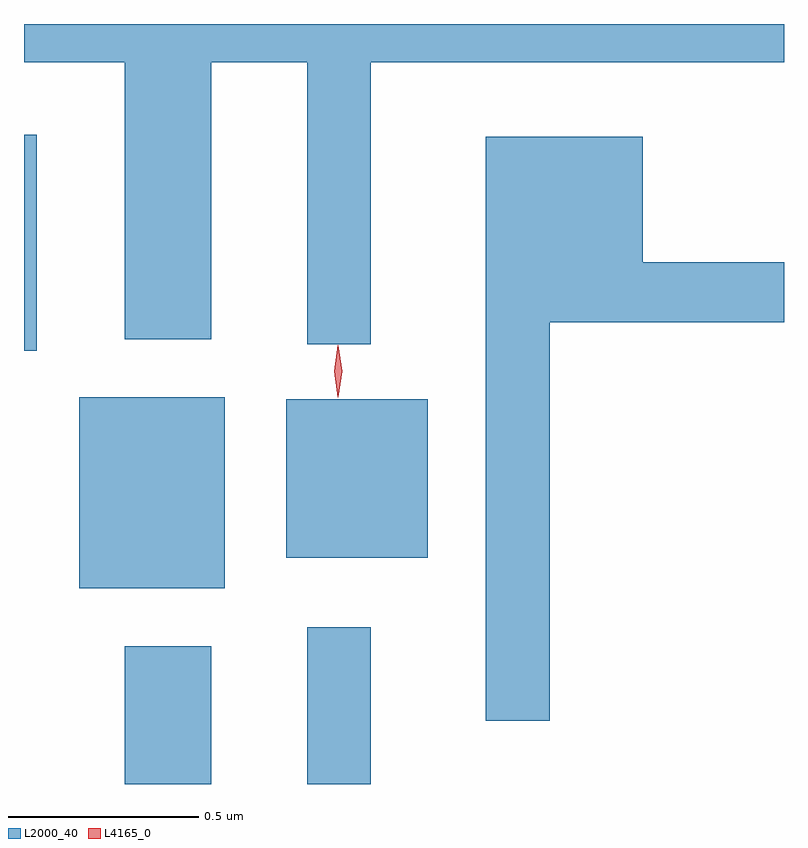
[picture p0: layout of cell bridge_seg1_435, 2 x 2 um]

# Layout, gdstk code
import gdstk
lib = gdstk.Library(unit=1e-6, precision=1e-09)
def R(c, l, rs):  # rectangles x0, y0, x1, y1
    for r in rs: c.add(gdstk.rectangle(r[:2], r[2:], *l))
def P(c, l, *ps):  # polygons
    for p in ps: c.add(gdstk.Polygon(p, *l))
L2000_40 = (2000, 40)
L4165_0 = (4165, 0)

bridge_seg1_435 = lib.new_cell('bridge_seg1_435')
R(bridge_seg1_435, L2000_40, [(332.531,939.856,332.759,940.219), (333.011,939.856,333.179,940.268), (332.411,940.371,332.794,940.874), (332.956,940.451,333.329,940.869), (332.266,940.996,332.299,941.564)])
P(bridge_seg1_435, L2000_40, [(333.179,941.756),(334.266,941.756),(334.266,941.856),(332.266,941.856),(332.266,941.756),(332.531,941.756),(332.531,941.026),(332.759,941.026),(332.759,941.756),(333.011,941.756),(333.011,941.013),(333.179,941.013)],
  [(333.649,941.071),(334.266,941.071),(334.266,941.229),(333.894,941.229),(333.894,941.559),(333.481,941.559),(333.481,940.023),(333.649,940.023)])
P(bridge_seg1_435, L4165_0, [(333.092,940.878),(333.083,940.942),(333.092,941.007),(333.093,941.007),(333.093,941.007),(333.103,940.942),(333.093,940.878),(333.093,940.878)],
  [(333.092,940.874),(333.083,940.942),(333.092,941.01),(333.093,941.01),(333.093,941.01),(333.103,940.942),(333.093,940.874),(333.093,940.874)])

lib.write_gds('bridge_seg1_435.gds')
